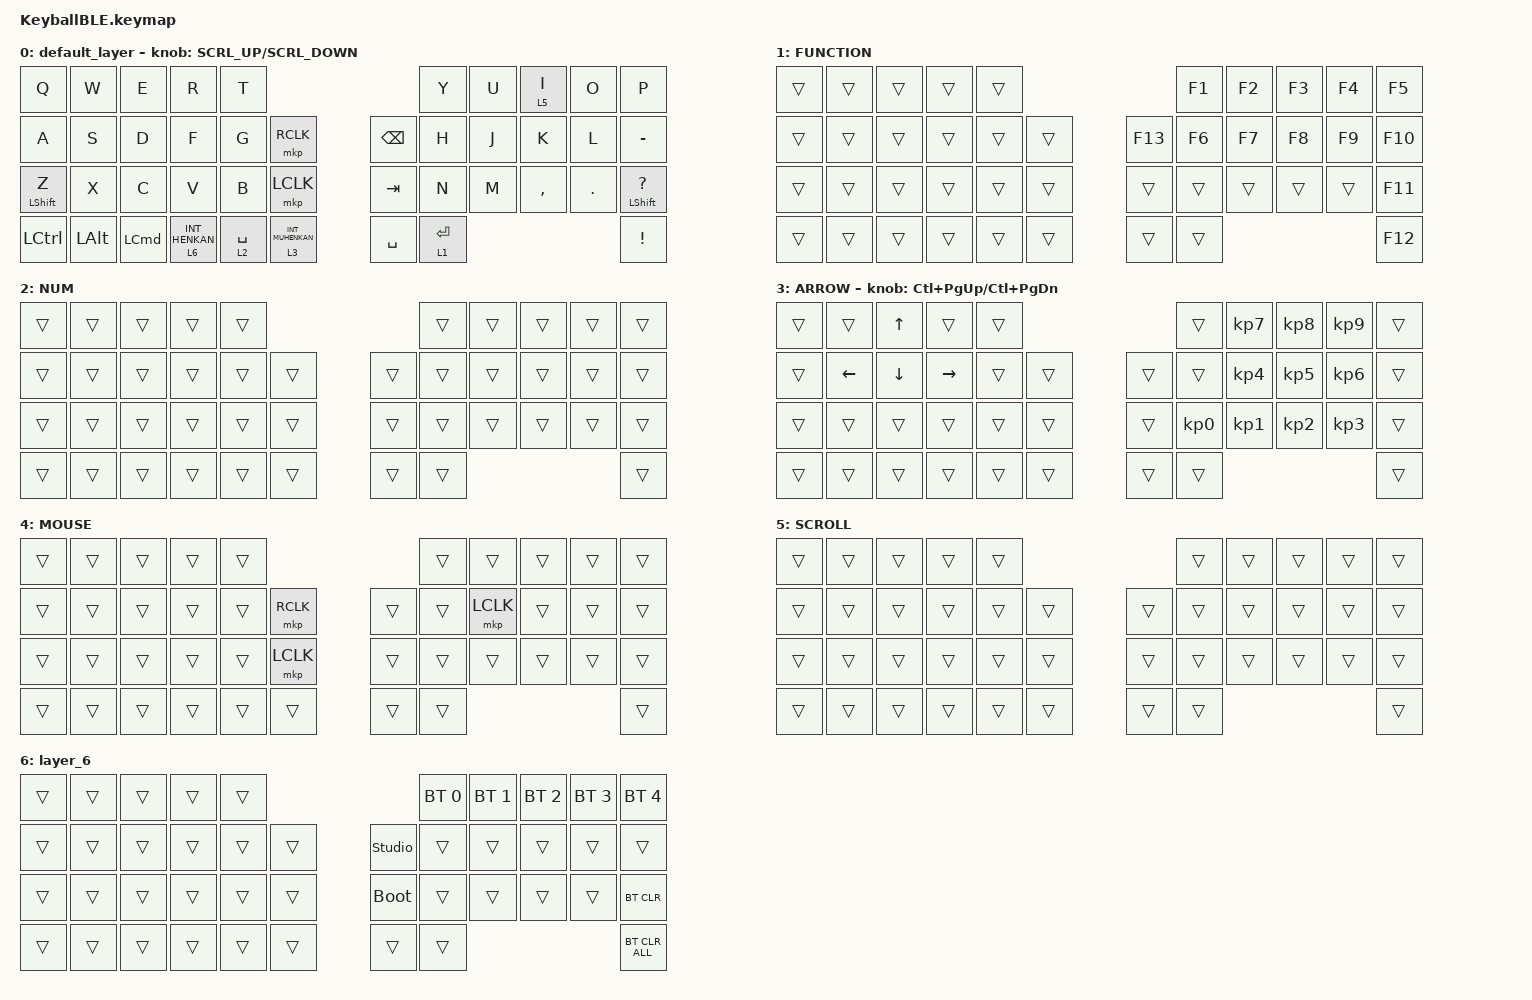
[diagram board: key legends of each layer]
#define ZMK_POINTING_DEFAULT_SCRL_VAL 120    // default: 10

#include <behaviors.dtsi>
#include <dt-bindings/zmk/bt.h>
#include <dt-bindings/zmk/keys.h>
#include <dt-bindings/zmk/pointing.h>

#define MOUSE 4
#define SCROLL 5
#define NUM 6

&mt {
    flavor = "balanced";
    quick-tap-ms = <0>;
};

/ {
    combos {
        compatible = "zmk,combos";

        double_quotation {
            bindings = <&kp DOUBLE_QUOTES>;
            key-positions = <20 21>;
        };
    };

    macros {
        to_layer_0: to_layer_0 {
            compatible = "zmk,behavior-macro-one-param";
            #binding-cells = <1>;
            bindings = <&to 0 &macro_param_1to1 &kp MACRO_PLACEHOLDER>;
            label = "TO_LAYER_0";
        };
    };

    behaviors {
        lt_to_layer_0: lt_to_layer_0 {
            compatible = "zmk,behavior-hold-tap";
            label = "LAYER_TAP_TO_0";
            bindings = <&mo>, <&to_layer_0>;

            #binding-cells = <2>;
            tapping-term-ms = <200>;
        };

        ROTATE: ROTATE {
            compatible = "zmk,behavior-sensor-rotate-var";
            label = "ROTATE";
            #sensor-binding-cells = <2>;
            bindings = <&msc>, <&msc>;

            tap-ms = <20>;
        };
    };

    keymap {
        compatible = "zmk,keymap";

        default_layer {
            bindings = <
&kp Q             &kp W         &kp E             &kp R                        &kp T                                                          &kp Y        &kp U  &lt 5 I    &kp O    &kp P
&kp A             &kp S         &kp D             &kp F                        &kp G        &mkp RCLK                          &kp BACKSPACE  &kp H        &kp J  &kp K      &kp L    &kp MINUS
&mt LEFT_SHIFT Z  &kp X         &kp C             &kp V                        &kp B        &mkp LCLK                          &kp TAB        &kp N        &kp M  &kp COMMA  &kp DOT  &mt LEFT_SHIFT QUESTION
&kp LCTRL         &kp LEFT_ALT  &kp LEFT_COMMAND  &lt_to_layer_0 6 INT_HENKAN  &lt 2 SPACE  &lt_to_layer_0 3 INT_MUHENKAN      &kp SPACE      &lt 1 ENTER                             &kp EXCLAMATION
            >;

            sensor-bindings = <&ROTATE SCRL_UP SCRL_DOWN>;
        };

        FUNCTION {
            bindings = <
&trans  &trans  &trans  &trans  &trans                       &kp F1  &kp F2  &kp F3  &kp F4  &kp F5
&trans  &trans  &trans  &trans  &trans  &trans      &kp F13  &kp F6  &kp F7  &kp F8  &kp F9  &kp F10
&trans  &trans  &trans  &trans  &trans  &trans      &trans   &trans  &trans  &trans  &trans  &kp F11
&trans  &trans  &trans  &trans  &trans  &trans      &trans   &trans                          &kp F12
            >;
        };

        NUM {
            bindings = <
&trans  &trans  &trans  &trans  &trans                      &trans  &trans  &trans  &trans  &trans
&trans  &trans  &trans  &trans  &trans  &trans      &trans  &trans  &trans  &trans  &trans  &trans
&trans  &trans  &trans  &trans  &trans  &trans      &trans  &trans  &trans  &trans  &trans  &trans
&trans  &trans  &trans  &trans  &trans  &trans      &trans  &trans                          &trans
            >;
        };

        ARROW {
            bindings = <
&trans  &trans          &kp UP_ARROW    &trans           &trans                      &trans           &kp KP_NUMBER_7  &kp KP_NUMBER_8  &kp KP_NUMBER_9  &trans
&trans  &kp LEFT_ARROW  &kp DOWN_ARROW  &kp RIGHT_ARROW  &trans  &trans      &trans  &trans           &kp KP_NUMBER_4  &kp KP_NUMBER_5  &kp KP_NUMBER_6  &trans
&trans  &trans          &trans          &trans           &trans  &trans      &trans  &kp KP_NUMBER_0  &kp KP_NUMBER_1  &kp KP_NUMBER_2  &kp KP_NUMBER_3  &trans
&trans  &trans          &trans          &trans           &trans  &trans      &trans  &trans                                                              &trans
            >;

            sensor-bindings = <&inc_dec_kp LC(PAGE_UP) LC(PAGE_DOWN)>;
        };

        MOUSE {
            bindings = <
&trans  &trans  &trans  &trans  &trans                         &trans  &trans     &trans  &trans  &trans
&trans  &trans  &trans  &trans  &trans  &mkp RCLK      &trans  &trans  &mkp LCLK  &trans  &trans  &trans
&trans  &trans  &trans  &trans  &trans  &mkp LCLK      &trans  &trans  &trans     &trans  &trans  &trans
&trans  &trans  &trans  &trans  &trans  &trans         &trans  &trans                             &trans
            >;
        };

        SCROLL {
            bindings = <
&trans  &trans  &trans  &trans  &trans                      &trans  &trans  &trans  &trans  &trans
&trans  &trans  &trans  &trans  &trans  &trans      &trans  &trans  &trans  &trans  &trans  &trans
&trans  &trans  &trans  &trans  &trans  &trans      &trans  &trans  &trans  &trans  &trans  &trans
&trans  &trans  &trans  &trans  &trans  &trans      &trans  &trans                          &trans
            >;
        };

        layer_6 {
            bindings = <
&trans  &trans  &trans  &trans  &trans                              &bt BT_SEL 0  &bt BT_SEL 1  &bt BT_SEL 2  &bt BT_SEL 3  &bt BT_SEL 4
&trans  &trans  &trans  &trans  &trans  &trans      &studio_unlock  &trans        &trans        &trans        &trans        &trans
&trans  &trans  &trans  &trans  &trans  &trans      &bootloader     &trans        &trans        &trans        &trans        &bt BT_CLR
&trans  &trans  &trans  &trans  &trans  &trans      &trans          &trans                                                  &bt BT_CLR_ALL
            >;
        };
    };
};
